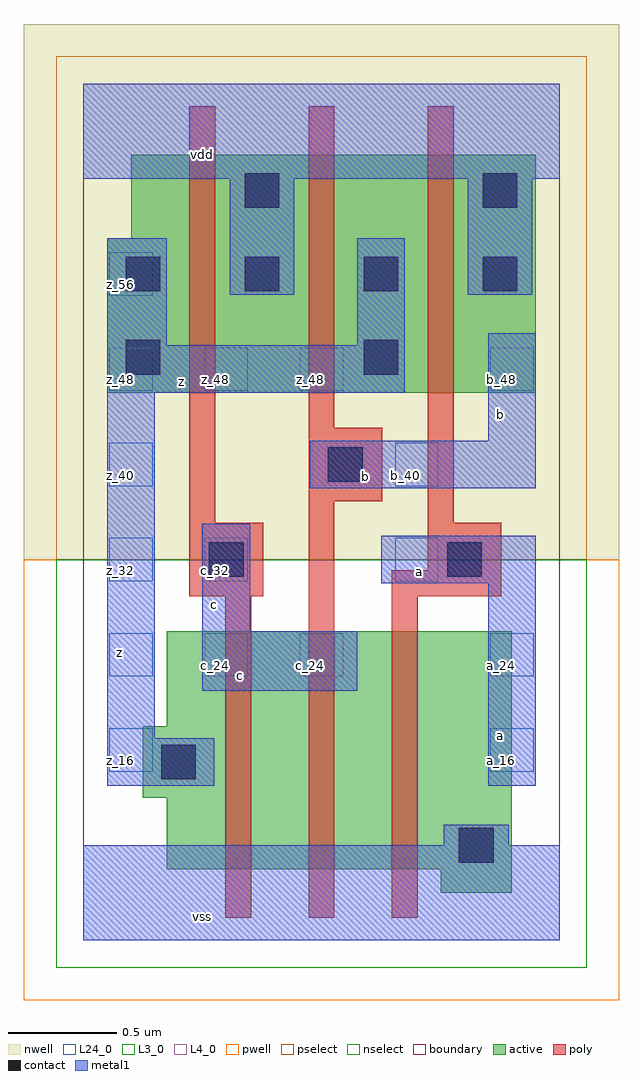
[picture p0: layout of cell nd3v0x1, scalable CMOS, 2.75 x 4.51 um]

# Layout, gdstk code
import gdstk
lib = gdstk.Library(unit=1e-6, precision=2.5e-09)
def R(c, l, rs):  # rectangles x0, y0, x1, y1
    for r in rs: c.add(gdstk.rectangle(r[:2], r[2:], *l))
def A(c, l, x, y, w, h, nx, ny, dx, dy):  # array of equal rectangles
    R(c, l, [(x+i*dx, y+j*dy, x+i*dx+w, y+j*dy+h) for i in range(nx) for j in range(ny)])
L3_0 = (3, 0)
L4_0 = (4, 0)
L24_0 = (24, 0)
contact = (25, 0)
pwell = (41, 0)
nwell = (42, 0)
active = (43, 0)
pselect = (44, 0)
nselect = (45, 0)
poly = (46, 0)
metal1 = (49, 0)
boundary = (63, 0)

nd3v0x1 = lib.new_cell('nd3v0x1')
R(nd3v0x1, L3_0, [(1.65,0.22,1.98,0.33), (0.385,0.33,1.98,0.66), (0.275,0.66,1.98,0.99), (0.385,0.99,1.98,1.43)])
R(nd3v0x1, L4_0, [(0.11,2.53,2.09,3.245), (0.22,3.245,2.09,3.63)])
A(nd3v0x1, L24_0, 0.12, 1.22, 0.2, 0.2, 3, 2, 0.44, 1.32)
R(nd3v0x1, L24_0, [(0.12,0.78,0.32,0.98), (1.88,0.78,2.08,0.98), (1.88,1.22,2.08,1.42), (0.12,1.66,0.32,1.86), (0.56,1.66,0.76,1.86), (1.44,1.66,1.64,1.86), (0.12,2.1,0.32,2.3), (1.44,2.1,1.64,2.3), (1.88,2.54,2.08,2.74), (0.12,2.98,0.32,3.18)])
A(nd3v0x1, contact, 0.195, 3, 0.16, 0.16, 4, 1, 0.55, 0)
R(nd3v0x1, contact, [(1.735,0.36,1.895,0.52), (0.36,0.745,0.52,0.905), (0.58,1.68,0.74,1.84), (1.68,1.68,1.84,1.84), (1.13,2.12,1.29,2.28), (0.195,2.615,0.355,2.775), (1.295,2.615,1.455,2.775), (0.745,3.385,0.905,3.545), (1.845,3.385,2.005,3.545)])
R(nd3v0x1, pwell, [(-0.275,-0.275,2.475,1.76)])
R(nd3v0x1, nwell, [(-0.275,1.76,2.475,4.235)])
R(nd3v0x1, active, [(1.65,0.22,1.98,0.33), (0.385,0.33,1.98,0.66), (0.275,0.66,1.98,0.99), (0.385,0.99,1.98,1.43), (0.11,2.53,2.09,3.245), (0.22,3.245,2.09,3.63)])
R(nd3v0x1, pselect, [(-0.125,1.76,2.325,4.085)])
R(nd3v0x1, nselect, [(-0.125,-0.125,2.325,1.76)])
R(nd3v0x1, poly, [(0.655,0.105,0.775,1.59), (1.04,0.105,1.16,2.03), (1.425,0.105,1.545,1.59), (0.49,1.59,0.83,1.93), (1.425,1.59,1.93,1.71), (1.59,1.71,1.93,1.93), (0.49,1.93,0.61,3.855), (1.59,1.93,1.71,3.855), (1.04,2.03,1.38,2.37), (1.04,2.37,1.16,3.855)])
R(nd3v0x1, metal1, [(0,0,2.2,0.44), (1.665,0.44,1.965,0.535), (0.11,0.715,0.605,0.935), (1.87,0.715,2.09,1.65), (0.11,0.935,0.33,2.53), (0.55,1.155,1.265,1.43), (0.55,1.43,0.77,1.925), (1.375,1.65,2.09,1.87), (1.045,2.09,2.09,2.31), (1.87,2.31,2.09,2.805), (0.11,2.53,1.485,2.75), (0.11,2.75,0.385,3.245), (1.265,2.75,1.485,3.245), (0.675,2.985,0.975,3.52), (1.775,2.985,2.075,3.52), (0,3.52,2.2,3.96)])
R(nd3v0x1, boundary, [(0,0,2.2,3.96)])
nd3v0x1.add(gdstk.Label('vss', (0.55,0.11), layer=49, texttype=0))
nd3v0x1.add(gdstk.Label('a', (1.925,0.9475), layer=49, texttype=0))
nd3v0x1.add(gdstk.Label('c', (0.7275,1.2225), layer=49, texttype=0))
nd3v0x1.add(gdstk.Label('a', (1.5525,1.705), layer=49, texttype=0))
nd3v0x1.add(gdstk.Label('c', (0.605,1.5525), layer=49, texttype=0))
nd3v0x1.add(gdstk.Label('b', (1.305,2.145), layer=49, texttype=0))
nd3v0x1.add(gdstk.Label('b', (1.925,2.4325), layer=49, texttype=0))
nd3v0x1.add(gdstk.Label('z', (0.165,1.3325), layer=49, texttype=0))
nd3v0x1.add(gdstk.Label('z', (0.4525,2.585), layer=49, texttype=0))
nd3v0x1.add(gdstk.Label('vdd', (0.55,3.63), layer=49, texttype=0))
nd3v0x1.add(gdstk.Label('a_16', (1.93,0.83), layer=24, texttype=0))
nd3v0x1.add(gdstk.Label('z_56', (0.17,3.03), layer=24, texttype=0))
nd3v0x1.add(gdstk.Label('z_48', (0.17,2.59), layer=24, texttype=0))
nd3v0x1.add(gdstk.Label('z_40', (0.17,2.15), layer=24, texttype=0))
nd3v0x1.add(gdstk.Label('z_32', (0.17,1.71), layer=24, texttype=0))
nd3v0x1.add(gdstk.Label('z_24', (0.17,1.27), layer=24, texttype=0))
nd3v0x1.add(gdstk.Label('z_16', (0.17,0.83), layer=24, texttype=0))
nd3v0x1.add(gdstk.Label('b_48', (1.93,2.59), layer=24, texttype=0))
nd3v0x1.add(gdstk.Label('a_24', (1.93,1.27), layer=24, texttype=0))
nd3v0x1.add(gdstk.Label('b_40', (1.49,2.15), layer=24, texttype=0))
nd3v0x1.add(gdstk.Label('a_32', (1.49,1.71), layer=24, texttype=0))
nd3v0x1.add(gdstk.Label('z_48', (1.05,2.59), layer=24, texttype=0))
nd3v0x1.add(gdstk.Label('c_24', (1.05,1.27), layer=24, texttype=0))
nd3v0x1.add(gdstk.Label('z_48', (0.61,2.59), layer=24, texttype=0))
nd3v0x1.add(gdstk.Label('c_32', (0.61,1.71), layer=24, texttype=0))
nd3v0x1.add(gdstk.Label('c_24', (0.61,1.27), layer=24, texttype=0))

lib.write_gds('nd3v0x1.gds')
